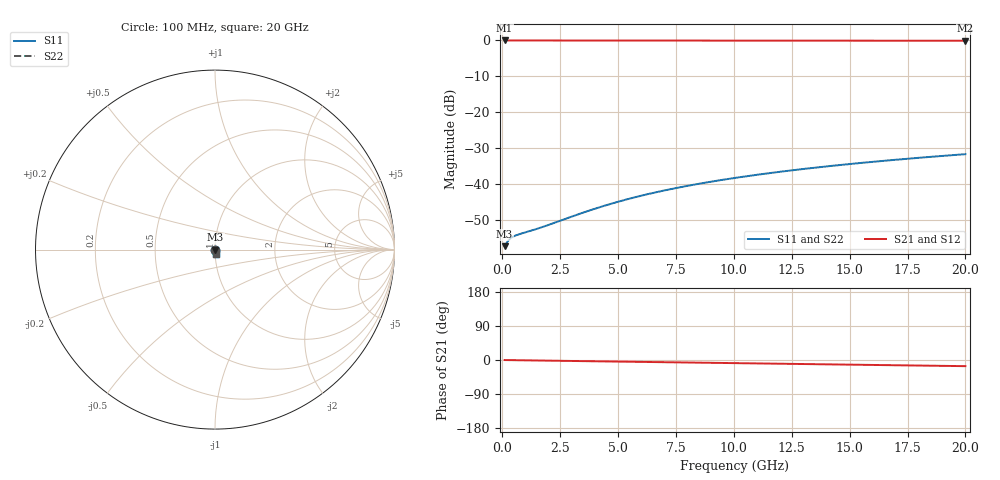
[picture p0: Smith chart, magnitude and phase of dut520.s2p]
! Touchstone file exported from HFSS 2026.1.0
!  File:  C:/ffzhzh/LocalFiles/Ansys_Project_Files/temp_train_BSMRDL_520_1783014530_53980.aedt
!  Generated:  01:50:03 AM Jul  3, 2026
!  Design:  BSMRDL
!  Project:  temp_train_BSMRDL_520_1783014530_53980
! Variables:
!  h_bsmrdl = 5.68um
!  h_ox = 20um
!  h_rdl = 5um
!  h_sub = 80um
!  h_tmrdl = 5um
!  h_tsv = 80um
!  h_via = 3um
!  l_bsmrdl = 291.13um
!  l_sub = 691.13um
!  l_tmrdl = 200um
!  m_sub = 200um
!  pitch = 19.23um
!  r_tsv = 6um
!  s_tmrdl = 10um
!  w_bsmrdl = 15.43um
!  w_sub = 500um
!  w_tmrdl = 12um
!  x_tsv_center1 = 206um
!  x_tsv_center2 = 512.56um
!  x_tsv_center3 = 724.56um
!  x_tsv_center4 = 1031.12um
!  x_tsv_center5 = 1243.12um
!  x_tsv_center6 = 1549.68um
# GHz S MA R 50.000000
! Terminal data exported
! Port[1] = BSM_RDL1_1_T1
! Port[2] = BSM_RDL1_1_T2
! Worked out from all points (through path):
!   200 points, 100 MHz to 20 GHz, reference 50 ohm
!   highest |S21| = -0.01 dB at 100 MHz (marker M1); lowest = -0.1 dB at 20 GHz (marker M2)
!   group delay of S21, straight-line fit = 2.24 ps
!   lowest |S11| = -57.4 dB at 100 MHz (marker M3), VSWR 1.00, Z = 50.1 + j0.0197 ohm
!   |S11| at or under -10 dB: start of sweep to end of sweep
!   |S22| runs from -57.4 to -31.7 dB; largest |S21 - S12| = 3.5e-15
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0.1  0.001355 8.3  0.9987 -0.1  0.9987 -0.1  0.001355 8.3
! Gamma 0 0 0 0
! Port Impedance 50 0 50 0
0.2  0.001533 10.6  0.9985 -0.2  0.9985 -0.2  0.001533 10.6
0.3  0.001682 9.3  0.9983 -0.3  0.9983 -0.3  0.001682 9.3
0.4  0.001787 7.1  0.9982 -0.4  0.9982 -0.4  0.001787 7.1
0.5  0.001864 4.8  0.9981 -0.5  0.9981 -0.5  0.001864 4.8
0.7  0.001974 0.7  0.998 -0.6  0.998 -0.6  0.001974 0.7
1.3  0.002257 -8.5  0.9978 -1.1  0.9978 -1.1  0.002257 -8.5
1.8  0.002548 -14.5  0.9975 -1.6  0.9975 -1.6  0.002548 -14.5
3.5  0.003986 -30.9  0.9965 -3.0  0.9965 -3.0  0.003987 -30.8
4.3  0.004836 -37.0  0.996 -3.6  0.996 -3.6  0.004838 -37.0
5.1  0.005755 -42.4  0.9955 -4.3  0.9955 -4.3  0.005757 -42.4
5.9  0.006722 -47.1  0.995 -4.9  0.995 -4.9  0.006724 -47.1
6.8  0.00785 -51.6  0.9945 -5.7  0.9945 -5.7  0.007852 -51.6
7.6  0.008877 -55.2  0.9941 -6.3  0.9941 -6.3  0.00888 -55.2
8.4  0.009922 -58.3  0.9938 -7.0  0.9938 -7.0  0.009926 -58.3
10.1  0.01219 -64.0  0.993 -8.3  0.993 -8.3  0.01219 -63.9
11.7  0.01436 -68.3  0.9924 -9.6  0.9924 -9.6  0.01436 -68.3
13.4  0.01669 -72.3  0.9918 -11.0  0.9918 -11.0  0.0167 -72.2
15  0.01892 -75.5  0.9913 -12.3  0.9913 -12.3  0.01893 -75.5
16.7  0.0213 -78.6  0.9907 -13.6  0.9907 -13.6  0.02131 -78.5
18.3  0.02355 -81.2  0.9902 -14.9  0.9902 -14.9  0.02357 -81.2
20  0.02596 -83.8  0.9896 -16.3  0.9896 -16.3  0.02597 -83.8
